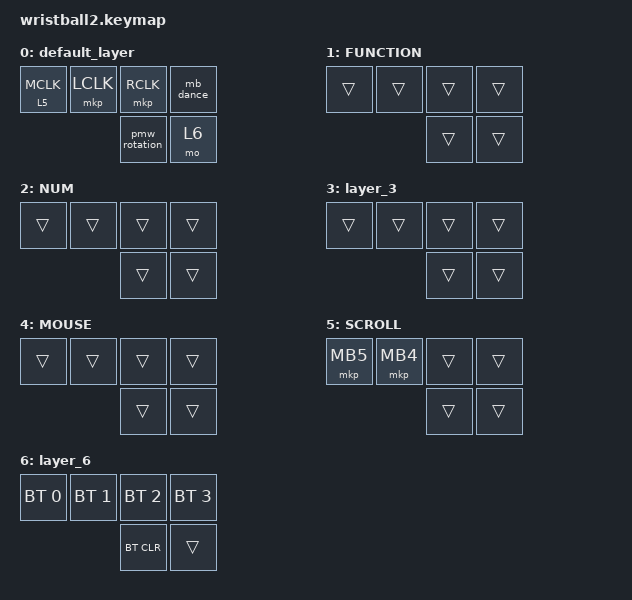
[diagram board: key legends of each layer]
#include <behaviors/rgbled_widget.dtsi>
#include <behaviors.dtsi>
#include <dt-bindings/zmk/bt.h>
#include <dt-bindings/zmk/keys.h>
#include <dt-bindings/zmk/pointing.h>

&mt {
    flavor = "balanced";
    quick-tap-ms = <0>;
};

&trackball {
    // automouse-layer = <1>;

    scroll-layers = <5>;

    // arrows {
    //     layers = <3>;
    //     bindings =
    //         <&kp RIGHT_ARROW>,
    //         <&kp LEFT_ARROW>,
    //         <&kp UP_ARROW>,
    //         <&kp DOWN_ARROW>;
    //     tick = <10>;
    //     wait-ms = <5>;
    //     tap-ms = <5>;
    // };
};

/ {
    behaviors {
        pmw_rotation: pmw_rotation {
            compatible = "zmk,behavior-pmw-rotation";
            #binding-cells = <0>;
        };
    };

    combos {
        compatible = "zmk,combos";

        tab {
            bindings = <&kp TAB>;
            key-positions = <11 12>;
        };

        shift_tab {
            bindings = <&kp LS(TAB)>;
            key-positions = <12 13>;
        };

        muhennkann {
            bindings = <&to_layer_0 INT_MUHENKAN>;
            key-positions = <11 10>;
        };

        double_quotation {
            bindings = <&kp DOUBLE_QUOTES>;
            key-positions = <20 21>;
        };

        eq {
            bindings = <&kp EQUAL>;
            key-positions = <24 25>;
        };
    };

    macros {
        to_layer_0: to_layer_0 {
            compatible = "zmk,behavior-macro-one-param";
            #binding-cells = <1>;
            bindings = <&to 0 &macro_param_1to1 &kp MACRO_PLACEHOLDER>;
            label = "TO_LAYER_0";
        };
    };

    behaviors {
        lt_to_layer_0: lt_to_layer_0 {
            compatible = "zmk,behavior-hold-tap";
            label = "LAYER_TAP_TO_0";
            bindings = <&mo>, <&to_layer_0>;

            #binding-cells = <2>;
            tapping-term-ms = <200>;
        };

        lt_mkp: lt_mkp {
            compatible = "zmk,behavior-hold-tap";
            label = "LT_MKP";
            bindings = <&mo>, <&mkp>;

            #binding-cells = <2>;
            tapping-term-ms = <200>;
        };

        mb_dance: mb_dance {
            compatible = "zmk,behavior-tap-dance";
            label = "MB_DANCE";
            #binding-cells = <0>;
            tapping-term-ms = <200>;
            bindings = <&mkp MB4>, <&mkp MB5>;
        };
    };

    keymap {
        compatible = "zmk,keymap";

        default_layer {
            bindings = <
&lt_mkp 5 MCLK  &mkp LCLK      &mkp RCLK
&mb_dance       &pmw_rotation  &mo 6
            >;
        };

        FUNCTION {
            bindings = <
&trans  &trans  &trans
&trans  &trans  &trans
            >;
        };

        NUM {
            bindings = <
&trans  &trans  &trans
&trans  &trans  &trans
            >;
        };

        layer_3 {
            bindings = <
&trans  &trans  &trans
&trans  &trans  &trans
            >;
        };

        MOUSE {
            bindings = <
&trans  &trans  &trans
&trans  &trans  &trans
            >;
        };

        SCROLL {
            bindings = <
&mkp MB5  &mkp MB4  &trans
&trans    &trans    &trans
            >;
        };

        layer_6 {
            bindings = <
&bt BT_SEL 0  &bt BT_SEL 1  &bt BT_SEL 2
&bt BT_SEL 3  &bt BT_CLR    &trans
            >;
        };
    };
};
